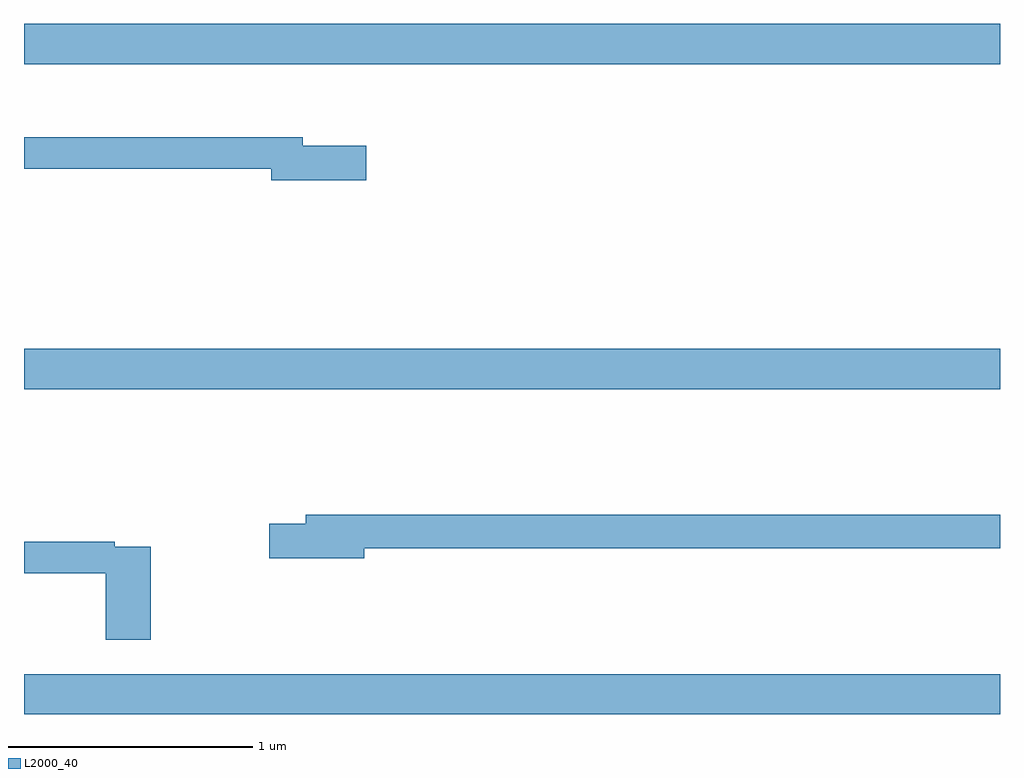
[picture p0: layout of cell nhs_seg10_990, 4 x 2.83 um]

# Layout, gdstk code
import gdstk
lib = gdstk.Library(unit=1e-6, precision=1e-09)
def R(c, l, rs):  # rectangles x0, y0, x1, y1
    for r in rs: c.add(gdstk.rectangle(r[:2], r[2:], *l))
def A(c, l, x, y, w, h, nx, ny, dx, dy):  # array of equal rectangles
    R(c, l, [(x+i*dx, y+j*dy, x+i*dx+w, y+j*dy+h) for i in range(nx) for j in range(ny)])
def P(c, l, *ps):  # polygons
    for p in ps: c.add(gdstk.Polygon(p, *l))
L2000_40 = (2000, 40)

nhs_seg10_990 = lib.new_cell('nhs_seg10_990')
A(nhs_seg10_990, L2000_40, 161, 1301.648, 4, 0.164, 1, 3, 0, 1.332)
P(nhs_seg10_990, L2000_40, [(162.403,1303.977),(162.142,1303.977),(162.142,1304.011),(161,1304.011),(161,1303.882),(162.014,1303.882),(162.014,1303.835),(162.403,1303.835)],
  [(162.394,1302.328),(165,1302.328),(165,1302.464),(162.155,1302.464),(162.155,1302.428),(162.006,1302.428),(162.006,1302.286),(162.394,1302.286)],
  [(161.519,1302.333),(161.372,1302.333),(161.372,1302.353),(161,1302.353),(161,1302.225),(161.336,1302.225),(161.336,1301.952),(161.519,1301.952)])

lib.write_gds('nhs_seg10_990.gds')
